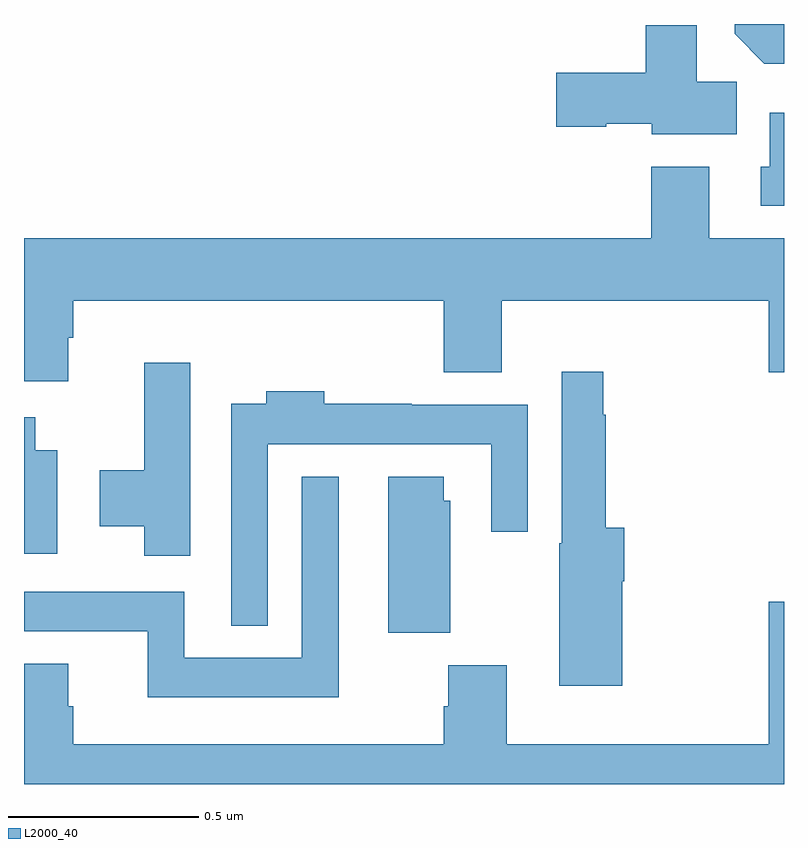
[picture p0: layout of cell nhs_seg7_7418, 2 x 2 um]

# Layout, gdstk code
import gdstk
lib = gdstk.Library(unit=1e-6, precision=1e-09)
def P(c, l, *ps):  # polygons
    for p in ps: c.add(gdstk.Polygon(p, *l))
L2000_40 = (2000, 40)

nhs_seg7_7418 = lib.new_cell('nhs_seg7_7418')
P(nhs_seg7_7418, L2000_40, [(213,1012),(212.87,1012),(212.87,1011.974),(212.948,1011.896),(213,1011.896)],
  [(212.875,1011.848),(212.77,1011.848),(212.77,1011.997),(212.636,1011.997),(212.636,1011.872),(212.4,1011.872),(212.4,1011.73),(212.532,1011.73),(212.532,1011.737),(212.652,1011.737),(212.652,1011.71),(212.875,1011.71)],
  [(213,1011.766),(212.963,1011.766),(212.963,1011.624),(212.939,1011.624),(212.939,1011.522),(213,1011.522)],
  [(211.117,1011.174),(211.13,1011.174),(211.13,1011.272),(212.105,1011.272),(212.105,1011.083),(212.257,1011.083),(212.257,1011.272),(212.96,1011.272),(212.96,1011.084),(213,1011.084),(213,1011.436),(212.803,1011.436),(212.803,1011.625),(212.651,1011.625),(212.651,1011.436),(211,1011.436),(211,1011.06),(211.117,1011.06)],
  [(211.438,1011.109),(211.316,1011.109),(211.316,1010.826),(211.199,1010.826),(211.199,1010.678),(211.316,1010.678),(211.316,1010.601),(211.438,1010.601)],
  [(212.574,1010.534),(212.579,1010.534),(212.579,1010.674),(212.531,1010.674),(212.531,1010.972),(212.524,1010.972),(212.524,1011.085),(212.415,1011.085),(212.415,1010.634),(212.408,1010.634),(212.408,1010.258),(212.574,1010.258)],
  [(211.641,1010.894),(212.229,1010.894),(212.229,1010.664),(212.325,1010.664),(212.325,1010.998),(212.021,1010.998),(212.021,1011.001),(211.79,1011.001),(211.79,1011.034),(211.637,1011.034),(211.637,1011.001),(211.545,1011.001),(211.545,1010.417),(211.641,1010.417)],
  [(211.087,1010.878),(211.03,1010.878),(211.03,1010.965),(211,1010.965),(211,1010.606),(211.087,1010.606)],
  [(212.122,1010.745),(212.104,1010.745),(212.104,1010.809),(211.958,1010.809),(211.958,1010.398),(212.122,1010.398)],
  [(211.828,1010.809),(211.731,1010.809),(211.731,1010.332),(211.422,1010.332),(211.422,1010.506),(211,1010.506),(211,1010.402),(211.325,1010.402),(211.325,1010.228),(211.828,1010.228)],
  [(213,1010.479),(212.96,1010.479),(212.96,1010.104),(212.27,1010.104),(212.27,1010.313),(212.117,1010.313),(212.117,1010.204),(212.105,1010.204),(212.105,1010.104),(211.13,1010.104),(211.13,1010.205),(211.117,1010.205),(211.117,1010.317),(211,1010.317),(211,1010),(213,1010)])

lib.write_gds('nhs_seg7_7418.gds')
